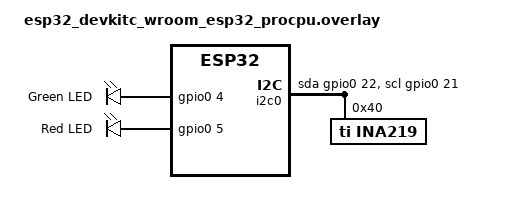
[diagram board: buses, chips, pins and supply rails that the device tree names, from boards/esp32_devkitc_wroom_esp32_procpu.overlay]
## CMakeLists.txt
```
cmake_minimum_required(VERSION 3.20.0)
find_package(Zephyr REQUIRED HINTS $ENV{ZEPHYR_BASE})
project(alpha-charge-fixture)

target_sources(app PRIVATE src/main.c)
```

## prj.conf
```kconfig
CONFIG_LOG=y
CONFIG_LOG_BACKEND_UART=y
CONFIG_LOG_MODE_DEFERRED=y

CONFIG_I2C=y
CONFIG_SENSOR=y
CONFIG_GPIO=y

CONFIG_NEWLIB_LIBC=y
CONFIG_MAIN_STACK_SIZE=4096
CONFIG_CBPRINTF_FP_SUPPORT=y
```

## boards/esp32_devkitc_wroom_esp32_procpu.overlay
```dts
/ {
	aliases {
		green-led = &green_led;
		red-led = &red_led;
	};

	leds {
		compatible = "gpio-leds";
		green_led: green_led {
			gpios = <&gpio0 4 GPIO_ACTIVE_HIGH>;
			label = "Green LED";
		};
		red_led: red_led {
			gpios = <&gpio0 5 GPIO_ACTIVE_HIGH>;
			label = "Red LED";
		};
	};
};

&pinctrl {
	i2c0_default: i2c0_default {
		group1 {
			pinmux = <I2C0_SDA_GPIO22>,
				 <I2C0_SCL_GPIO21>;
			bias-pull-up;
			drive-open-drain;
			output-high;
		};
	};
};

&i2c0 {
	sda-gpios = <&gpio0 22 GPIO_OPEN_DRAIN>;
	scl-gpios = <&gpio0 21 GPIO_OPEN_DRAIN>;

	ina219: ina219@40 {
		compatible = "ti,ina219";
		reg = <0x40>;
		brng = <1>;
		pg = <3>;
		sadc = <13>;
		badc = <13>;
		shunt-milliohm = <100>;
		lsb-microamp = <10>;
	};
};
```

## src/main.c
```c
#include <zephyr/device.h>
#include <zephyr/drivers/gpio.h>
#include <zephyr/drivers/sensor.h>
#include <zephyr/kernel.h>
#include <zephyr/logging/log.h>

LOG_MODULE_REGISTER(charge_fixture, LOG_LEVEL_INF);

/* Current limits in milliamps */
#define CURRENT_MIN_MA 180
#define CURRENT_MAX_MA 250

/* LED flash period in ms */
#define FLASH_PERIOD_MS 300

/* Sensor read interval in ms */
#define READ_INTERVAL_MS 500

static const struct gpio_dt_spec green_led = GPIO_DT_SPEC_GET(DT_ALIAS(green_led), gpios);
static const struct gpio_dt_spec red_led = GPIO_DT_SPEC_GET(DT_ALIAS(red_led), gpios);
static const struct device* ina219 = DEVICE_DT_GET(DT_NODELABEL(ina219));

enum fixture_state {
    STATE_IN_RANGE,
    STATE_OUT_OF_RANGE,
    STATE_ERROR,
};

static void leds_off(void) {
    gpio_pin_set_dt(&green_led, 0);
    gpio_pin_set_dt(&red_led, 0);
}

static void flash_leds(enum fixture_state state) {
    switch (state) {
        case STATE_IN_RANGE:
            gpio_pin_set_dt(&green_led, 1);
            gpio_pin_set_dt(&red_led, 0);
            break;
        case STATE_OUT_OF_RANGE:
            gpio_pin_set_dt(&green_led, 0);
            gpio_pin_set_dt(&red_led, 1);
            break;
        case STATE_ERROR:
            gpio_pin_set_dt(&green_led, 1);
            gpio_pin_set_dt(&red_led, 1);
            break;
    }

    k_msleep(FLASH_PERIOD_MS);
    leds_off();
    k_msleep(FLASH_PERIOD_MS);
}

static void error_loop(void) {
    LOG_ERR("Entering error state - reset to recover");
    while (1) {
        flash_leds(STATE_ERROR);
    }
}

int main(void) {
    int ret;
    struct sensor_value current_val;
    double current_ma;

    LOG_INF("Alpha Charge Fixture starting");
    LOG_INF("Limits: %d mA - %d mA", CURRENT_MIN_MA, CURRENT_MAX_MA);

    /* Configure LEDs */
    if (!gpio_is_ready_dt(&green_led) || !gpio_is_ready_dt(&red_led)) {
        LOG_ERR("LED device not ready");
        return -1;
    }

    ret = gpio_pin_configure_dt(&green_led, GPIO_OUTPUT_INACTIVE);
    if (ret < 0) {
        LOG_ERR("Failed to configure green LED: %d", ret);
        return -1;
    }

    ret = gpio_pin_configure_dt(&red_led, GPIO_OUTPUT_INACTIVE);
    if (ret < 0) {
        LOG_ERR("Failed to configure red LED: %d", ret);
        return -1;
    }

    /* Check INA219 */
    if (!device_is_ready(ina219)) {
        LOG_ERR("INA219 device not ready");
        error_loop();
    }

    LOG_INF("All devices ready, starting measurement loop");

    while (1) {
        ret = sensor_sample_fetch(ina219);
        if (ret < 0) {
            LOG_ERR("Failed to fetch sensor data: %d", ret);
            error_loop();
        }

        ret = sensor_channel_get(ina219, SENSOR_CHAN_CURRENT, &current_val);
        if (ret < 0) {
            LOG_ERR("Failed to get current channel: %d", ret);
            error_loop();
        }

        current_ma = sensor_value_to_double(&current_val) * 1000.0;

        if (current_ma >= CURRENT_MIN_MA && current_ma <= CURRENT_MAX_MA) {
            LOG_INF("Current: %.1f mA [OK]", current_ma);
            gpio_pin_set_dt(&green_led, 1);
            gpio_pin_set_dt(&red_led, 0);
        } else {
            LOG_WRN("Current: %.1f mA [OUT OF RANGE]", current_ma);
            flash_leds(STATE_OUT_OF_RANGE);
        }

        k_msleep(READ_INTERVAL_MS);
    }

    return 0;
}
```
